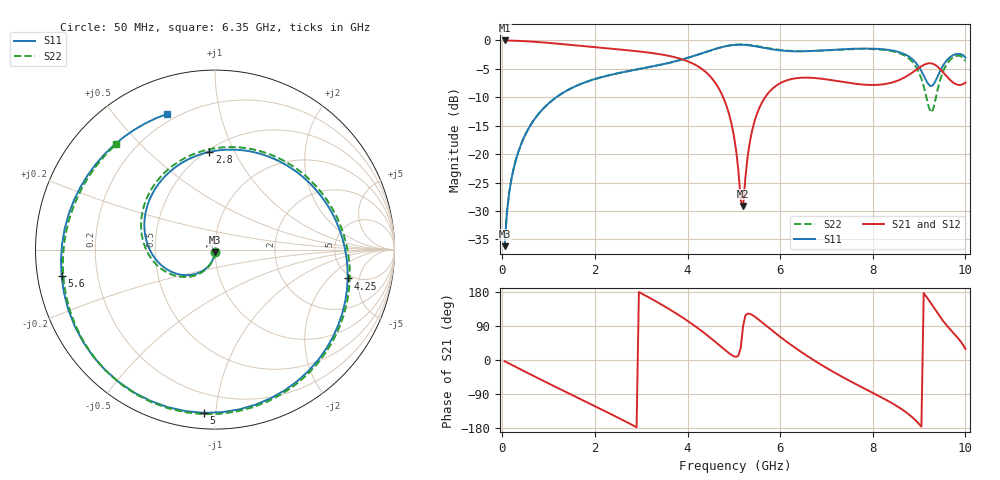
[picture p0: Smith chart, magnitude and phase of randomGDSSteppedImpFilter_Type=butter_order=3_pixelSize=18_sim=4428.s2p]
! freq	dB(S11)	phase(S11)	dB(S12)	phase(S12)
!  dB(S21)	phase(S21)	dB(S22)	phase(S22)
!S-par simulation data
#  GHz  S  DB  R 50
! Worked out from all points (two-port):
!   200 points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, 50 MHz to 10 GHz, reference 50 ohm
!   highest |S21| = -0.01 dB at 50 MHz (marker M1); lowest = -29.1 dB at 5.2 GHz (marker M2)
!   |S21| within 3 dB of the highest: start of sweep to 3.75 GHz
!   lowest |S11| = -36.2 dB at 50 MHz (marker M3), VSWR 1.03, Z = 49.9 - j1.55 ohm
!   |S11| at or under -10 dB: start of sweep to 1.165 GHz
!   |S22| runs from -36.2 to -0.7 dB; largest |S21 - S12| = 0
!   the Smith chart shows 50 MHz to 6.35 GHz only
!   S11 on the Smith chart (normalised r, x): 50 MHz: 1.00, -0.03; 2.8 GHz: 0.52, +0.80; 4.25 GHz: 4.56, -3.43; 5 GHz: 0.09, -0.93; 5.6 GHz: 0.07, -0.09; 6.35 GHz: 0.16, +0.69
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0.05  -36.18 -93.0  -0.01 -3.2  -0.01 -3.2  -36.17 -92.7
0.2  -24.25 -103.2  -0.04 -12.6  -0.04 -12.6  -24.25 -102.3
0.5  -16.53 -123.0  -0.14 -31.3  -0.14 -31.3  -16.52 -120.6
1.75  -7.48 158.5  -1.00 -106.9  -1.00 -106.9  -7.48 166.2
2.8  -5.27 93.3  -1.81 -171.0  -1.81 -171.0  -5.28 103.3
3.4  -4.31 53.8  -2.42 148.9  -2.42 148.9  -4.32 62.8
4.25  -2.42 -12.3  -4.69 81.6  -4.69 81.6  -2.44 -7.0
4.6  -1.50 -46.9  -7.47 47.8  -7.47 47.8  -1.50 -42.6
5  -0.80 -93.9  -16.71 9.8  -16.71 9.8  -0.77 -88.5
5.05  -0.77 -100.3  -19.37 8.3  -19.37 8.3  -0.73 -94.5
5.2  -0.77 -119.5  -29.10 90.0  -29.10 90.0  -0.71 -112.4
5.35  -0.89 -138.8  -17.65 121.7  -17.65 121.7  -0.81 -129.9
5.6  -1.23 -170.1  -11.03 100.2  -11.03 100.2  -1.15 -157.5
6.35  -1.92 109.6  -6.64 29.9  -6.64 29.9  -1.88 133.1
6.7  -1.85 79.4  -6.58 1.5  -6.58 1.5  -1.85 105.3
7.5  -1.48 23.4  -7.49 -55.0  -7.49 -55.0  -1.54 48.7
8.35  -1.67 -23.9  -7.54 -109.5  -7.54 -109.5  -1.79 -4.9
8.85  -3.26 -51.0  -5.68 -150.8  -5.68 -150.8  -3.73 -39.4
9.15  -6.98 -56.1  -4.13 168.4  -4.13 168.4  -9.70 -51.9
9.45  -5.46 -27.9  -5.00 114.5  -5.00 114.5  -7.07 4.0
9.75  -2.54 -42.8  -7.48 70.1  -7.48 70.1  -2.91 -20.1
10  -3.01 -59.5  -7.43 29.2  -7.43 29.2  -3.64 -44.3
